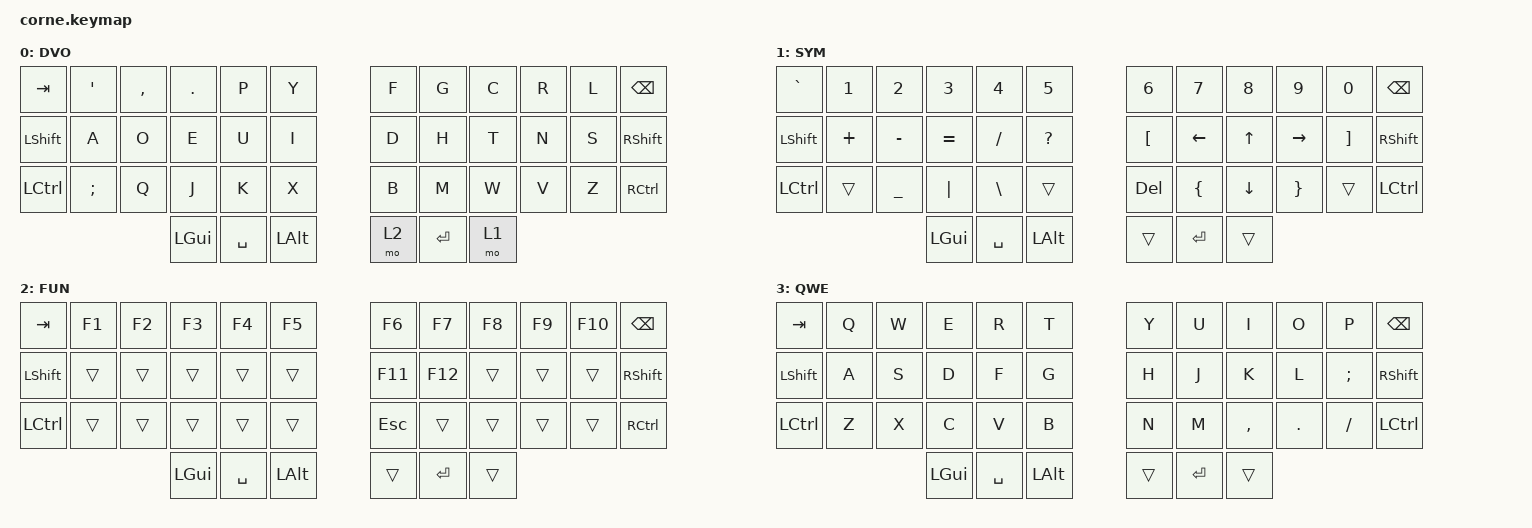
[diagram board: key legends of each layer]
/*
 * Copyright (c) 2020 The ZMK Contributors
 *
 * SPDX-License-Identifier: MIT
 */

#include <behaviors.dtsi>
#include <dt-bindings/zmk/keys.h>
#include <dt-bindings/zmk/bt.h>
#include <dt-bindings/zmk/ext_power.h> // EXT_POWER_TOGGLE_CMD, EXT_POWER_ON_CMD & EXT_POWER_OFF_CMD

&nice_view_spi {
	// pin 0 (nice!nano) is wired to CS (nice!view)
	cs-gpios = <&pro_micro 0 GPIO_ACTIVE_HIGH>;
};

/ {
    keymap {
		compatible = "zmk,keymap";

		// dvorak
		default_layer {
			display-name="DVO";
			bindings = <
				&kp TAB   &kp SQT  &kp COMMA &kp DOT   &kp P &kp Y		&kp F  &kp G   &kp C &kp R &kp L &kp BSPC
				&kp LSHFT &kp A    &kp O     &kp E     &kp U &kp I		&kp D  &kp H   &kp T &kp N &kp S &kp RSHFT
				&kp LCTRL &kp SEMI &kp Q     &kp J     &kp K &kp X		&kp B  &kp M   &kp W &kp V &kp Z &kp RCTRL
								&kp LGUI  &kp SPACE &kp LALT			&mo 2  &kp RET &mo 1
			>;
		};

		symbols_layer {
			display-name="SYM";
			bindings = <
				&kp GRAVE  &kp N1   &kp N2    &kp N3    &kp N4		  &kp N5			&kp N6   &kp N7   &kp N8   &kp N9    &kp N0	  &kp BSPC
				&kp LSHFT  &kp PLUS &kp MINUS &kp EQUAL &kp SLASH	  &kp QUESTION		&kp LBKT &kp LEFT &kp UP   &kp RIGHT &kp RBKT &kp RSHFT
				&kp LCTRL  &trans   &kp UNDER &kp PIPE  &kp BACKSLASH &trans			&kp DEL	 &kp LBRC &kp DOWN &kp RBRC	 &trans	  &kp LCTRL
											&kp LGUI  &kp SPACE	  &kp LALT			&trans   &kp RET  &trans
			>;
		};

		function_layer {
			display-name="FUN";
			bindings = <
				&kp  TAB  &kp F1 &kp F2 &kp F3 &kp F4 &kp F5		&kp F6	&kp F7	&kp F8 &kp F9 &kp F10 &kp BSPC
				&kp LSHFT &trans &trans &trans &trans &trans		&kp F11 &kp F12	&trans &trans &trans  &kp RSHFT
				&kp LCTRL &trans &trans &trans &trans &trans		&kp ESC &trans  &trans &trans &trans  &kp RCTRL
								&kp LGUI &kp SPACE &kp LALT		&trans &kp RET &trans
			>;
		};

		qwerty_layer {
			display-name="QWE";
			bindings = <
				&kp TAB   &kp Q &kp W &kp E &kp R &kp T   &kp Y &kp U  &kp I     &kp O   &kp P    &kp BSPC
				&kp LSHFT &kp A &kp S &kp D &kp F &kp G   &kp H &kp J  &kp K     &kp L   &kp SEMI &kp RSHFT
				&kp LCTRL &kp Z &kp X &kp C &kp V &kp B   &kp N &kp M  &kp COMMA &kp DOT &kp FSLH &kp LCTRL
							&kp LGUI &kp SPACE &kp LALT   &trans &kp RET &trans
			>;
		};
	};

    conditional_layers {
        compatible = "zmk,conditional-layers";
		// activate layer 3 if both 1 & 2 are active
        tri_layer {
            if-layers = <1 2>;
            then-layer = <3>;
        };
    };
};
